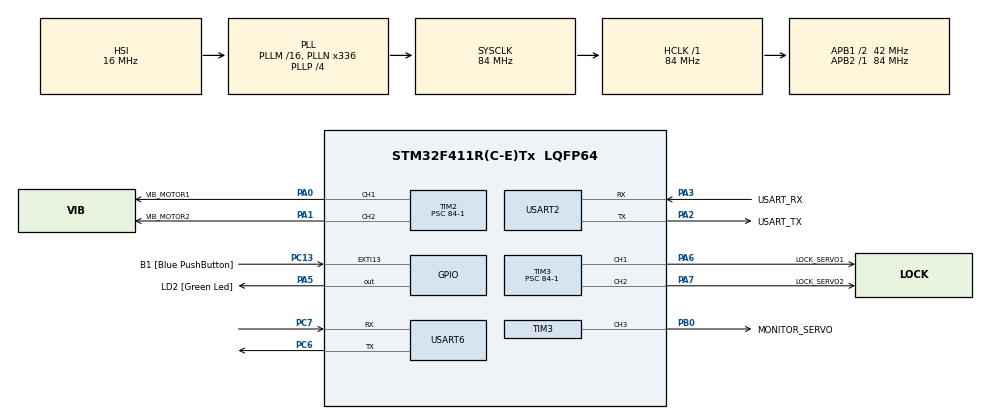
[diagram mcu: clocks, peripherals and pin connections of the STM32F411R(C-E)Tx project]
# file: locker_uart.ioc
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Dma.Request0=USART6_RX
Dma.Request1=USART6_TX
Dma.USART6_RX.0.Direction=DMA_PERIPH_TO_MEMORY
Dma.USART6_RX.0.FIFOMode=DMA_FIFOMODE_DISABLE
Dma.USART6_RX.0.Instance=DMA2_Stream1
Dma.USART6_RX.0.MemDataAlignment=DMA_MDATAALIGN_BYTE
Dma.USART6_RX.0.MemInc=DMA_MINC_ENABLE
Dma.USART6_RX.0.Mode=DMA_CIRCULAR
Dma.USART6_RX.0.PeriphDataAlignment=DMA_PDATAALIGN_BYTE
Dma.USART6_RX.0.PeriphInc=DMA_PINC_DISABLE
Dma.USART6_RX.0.Priority=DMA_PRIORITY_LOW
Dma.USART6_TX.1.Direction=DMA_MEMORY_TO_PERIPH
Dma.USART6_TX.1.FIFOMode=DMA_FIFOMODE_DISABLE
Dma.USART6_TX.1.Instance=DMA2_Stream6
Dma.USART6_TX.1.MemDataAlignment=DMA_MDATAALIGN_BYTE
Dma.USART6_TX.1.MemInc=DMA_MINC_ENABLE
Dma.USART6_TX.1.Mode=DMA_NORMAL
Dma.USART6_TX.1.PeriphDataAlignment=DMA_PDATAALIGN_BYTE
Dma.USART6_TX.1.PeriphInc=DMA_PINC_DISABLE
Dma.USART6_TX.1.Priority=DMA_PRIORITY_LOW
Mcu.Family=STM32F4
Mcu.Name=STM32F411R(C-E)Tx
Mcu.Package=LQFP64
NVIC.DMA2_Stream1_IRQn=true\:0\:0\:false\:false\:true\:false\:true\:true
NVIC.DMA2_Stream6_IRQn=true\:0\:0\:false\:false\:true\:false\:true\:true
NVIC.PriorityGroup=NVIC_PRIORITYGROUP_0
NVIC.USART6_IRQn=true\:0\:0\:false\:false\:true\:true\:true\:true
PA0-WKUP.GPIO_Label=VIB_MOTOR1
PA0-WKUP.Signal=S_TIM2_CH1_ETR
PA1.GPIO_Label=VIB_MOTOR2
PA1.Signal=S_TIM2_CH2
PA13.GPIO_Label=TMS
PA13.Mode=Serial_Wire
PA13.Signal=SYS_JTMS-SWDIO
PA14.GPIO_Label=TCK
PA14.Mode=Serial_Wire
PA14.Signal=SYS_JTCK-SWCLK
PA2.GPIO_Label=USART_TX
PA2.Mode=Asynchronous
PA2.Signal=USART2_TX
PA3.GPIO_Label=USART_RX
PA3.Mode=Asynchronous
PA3.Signal=USART2_RX
PA5.GPIO_Label=LD2 [Green Led]
PA5.Signal=GPIO_Output
PA6.GPIO_Label=LOCK_SERVO1
PA6.Signal=S_TIM3_CH1
PA7.GPIO_Label=LOCK_SERVO2
PA7.Signal=S_TIM3_CH2
PB0.GPIO_Label=MONITOR_SERVO
PB0.Signal=S_TIM3_CH3
PB3.GPIO_Label=SWO
PB3.Signal=SYS_JTDO-SWO
PC13-ANTI_TAMP.GPIO_Label=B1 [Blue PushButton]
PC13-ANTI_TAMP.GPIO_ModeDefaultEXTI=GPIO_MODE_IT_FALLING
PC13-ANTI_TAMP.Signal=GPXTI13
PC14-OSC32_IN.Signal=RCC_OSC32_IN
PC15-OSC32_OUT.Signal=RCC_OSC32_OUT
PC6.Mode=Asynchronous
PC6.Signal=USART6_TX
PC7.Mode=Asynchronous
PC7.Signal=USART6_RX
PH0\ -\ OSC_IN.Signal=RCC_OSC_IN
PH1\ -\ OSC_OUT.Signal=RCC_OSC_OUT
ProjectManager.HeapSize=0x200
ProjectManager.StackSize=0x400
ProjectManager.TargetToolchain=STM32CubeIDE
RCC.48MHZClocksFreq_Value=84000000
RCC.AHBFreq_Value=84000000
RCC.APB1CLKDivider=RCC_HCLK_DIV2
RCC.APB1Freq_Value=42000000
RCC.APB1TimFreq_Value=84000000
RCC.APB2Freq_Value=84000000
RCC.APB2TimFreq_Value=84000000
RCC.CortexFreq_Value=84000000
RCC.FLatency-AdvancedSettings=FLASH_LATENCY_2
RCC.HCLKFreq_Value=84000000
RCC.HSE_VALUE=8000000
RCC.HSI_VALUE=16000000
RCC.LSE_VALUE=32768
RCC.PLLN=336
RCC.PLLP=RCC_PLLP_DIV4
RCC.SYSCLKFreq_VALUE=84000000
RCC.SYSCLKSource=RCC_SYSCLKSOURCE_PLLCLK
RCC.VCOOutputFreq_Value=336000000
SH.S_TIM2_CH1_ETR.0=TIM2_CH1,PWM Generation1 CH1
SH.S_TIM2_CH2.0=TIM2_CH2,PWM Generation2 CH2
SH.S_TIM3_CH1.0=TIM3_CH1,PWM Generation1 CH1
SH.S_TIM3_CH2.0=TIM3_CH2,PWM Generation2 CH2
SH.S_TIM3_CH3.0=TIM3_CH3,PWM Generation3 CH3
TIM2.Channel-PWM\ Generation1\ CH1=TIM_CHANNEL_1
TIM2.Channel-PWM\ Generation2\ CH2=TIM_CHANNEL_2
TIM2.Period=1000-1
TIM2.Prescaler=84-1
TIM3.Channel-PWM\ Generation1\ CH1=TIM_CHANNEL_1
TIM3.Channel-PWM\ Generation2\ CH2=TIM_CHANNEL_2
TIM3.Channel-PWM\ Generation3\ CH3=TIM_CHANNEL_3
TIM3.Period=20000-1
TIM3.Prescaler=84-1
USART2.VirtualMode=VM_ASYNC
USART6.VirtualMode=VM_ASYNC
board=NUCLEO-F411RE

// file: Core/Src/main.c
/* USER CODE BEGIN Header */
/**
  ******************************************************************************
  * @file           : main.c
  * @brief          : Main program body
  ******************************************************************************
  * @attention
  *
  * Copyright (c) 2025 STMicroelectronics.
  * All rights reserved.
  *
  * This software is licensed under terms that can be found in the LICENSE file
  * in the root directory of this software component.
  * If no LICENSE file comes with this software, it is provided AS-IS.
  *
  ******************************************************************************
  */
/* USER CODE END Header */
#include "main.h"

/* USER CODE BEGIN Includes */
#include <stdio.h>
#include <string.h>

/* USER CODE END Includes */

/* USER CODE BEGIN PD */
#ifdef __GNUC__
/* With GCC, small printf (option LD Linker->Libraries->Small printf
   set to 'Yes') calls __io_putchar() */
#define PUTCHAR_PROTOTYPE int __io_putchar(int ch)
#else
#define PUTCHAR_PROTOTYPE int fputc(int ch, FILE *f)
#endif /* __GNUC__ */

/* USER CODE END PD */

TIM_HandleTypeDef htim2;
TIM_HandleTypeDef htim3;

UART_HandleTypeDef huart2;
UART_HandleTypeDef huart6;
DMA_HandleTypeDef hdma_usart6_rx;
DMA_HandleTypeDef hdma_usart6_tx;

/* USER CODE BEGIN PV */
#define RX_BUF_SIZE 256
#define ARR_CNT 4
char rxBuf[RX_BUF_SIZE];
volatile uint8_t rx_ch;
volatile uint8_t rx_index;
uint8_t uart6_flag = 0;
uint8_t uart6_rx_len = 0;
volatile uint8_t vib_flag = 0;	// 진동 기능 flag
volatile uint8_t vib_repeat = 0;	// 패턴 반복 횟수
static volatile uint8_t old = 0;
char msg_temp[RX_BUF_SIZE];
char* msg = msg_temp;

/* USER CODE END PV */

void SystemClock_Config(void);
static void MX_GPIO_Init(void);
static void MX_DMA_Init(void);
static void MX_USART2_UART_Init(void);
static void MX_USART6_UART_Init(void);
static void MX_TIM3_Init(void);
static void MX_TIM2_Init(void);
/* USER CODE BEGIN PFP */
void processMessage(char *msg);
void servo_unlock(void);
void servo_lock(void);
void send_status(const char *status);
void Motor_SetDutyPercent(uint8_t percent);
int Vib_PulsePattern(void);
void servo_setAngle(uint8_t angle);

/* USER CODE END PFP */

/* USER CODE BEGIN 0 */
void processMessage(char* msg)	/* 들어오는 메시지 처리 */
{
/*=========문자열 파싱=========*/
	int i = 0;
	char * pToken;
	char * pArray[ARR_CNT]={0};

	printf("Original Received : %s\r\n", msg);

	pToken = strtok(msg,":");
	while(pToken != NULL)
	{
	    pArray[i] = pToken;
	    if(++i >= ARR_CNT)
	      break;
	    pToken = strtok(NULL,":");
	}
	if(!strcmp(pArray[2],"DRAWER"))
	{
	 	if(!strcmp(pArray[3],"UNLOCK"))
	  	{
	  		printf(">>>>>debug : unlock\r\n");
//			servo_unlock();		// 서랍 잠금해제
//			send_status("unlocked success\n");	// 상태 회신 : 잠금해제 성공
	  	}
		else if(!strcmp(pArray[3],"LOCK"))
		{
			printf(">>>>>debug : lock\r\n");
//			servo_lock();		// 서랍 잠금
//			send_status("locked success\n");	// 상태 회신 : 잠금 성공

		}
	}
	if(!strcmp(pArray[2],"SLP"))
	{
	 	if(!strcmp(pArray[3],"ON"))
	  	{
	  		printf(">>>>>debug : sleeping \r\n");
//		    for(int i = 0; i < 5; i ++)
//		    {
//			    Vib_PulsePattern(); // "두두둑" 패턴 실행
//			    HAL_Delay(800);
//		    }
//		    send_status("vibration success\n");	// 상태 회신 : 진동 성공

	  	}
		else if(!strcmp(pArray[3],"OFF"))
		{
			printf(">>>>>debug : No sleeping \r\n");
		}
	}
	if(!strcmp(pArray[2],"POSTURE"))
	{
	 	if(!strcmp(pArray[3],"BAD"))
	  	{
	  		printf(">>>>>debug : bad posture \r\n");
//			__HAL_TIM_SET_COMPARE(&htim3, TIM_CHANNEL_3, 2200);
//			send_status("monitor tilted up\n");	// 상태 회신 : 모니터 강제 조절 성공

	  	}
		else if(!strcmp(pArray[3],"OK"))
		{
			printf(">>>>>debug : good posture \r\n");
//			__HAL_TIM_SET_COMPARE(&htim3, TIM_CHANNEL_3, 2500);
//			send_status("monitor reset\n");	// 상태 회신 : 모니터 원상복구
		}
	}

#if 1
	if(strcmp(msg, "unlock") == 0)
	{
		servo_unlock();		// 서랍 잠금해제
		send_status("unlocked success\n");	// 상태 회신 : 잠금해제 성공
	}
	else if(strcmp(msg, "lock") == 0)
	{
		servo_lock();		// 서랍 잠금
		send_status("locked success\n");	// 상태 회신 : 잠금 성공
	}
	else if(strcmp(msg, "sleeping") == 0)
	{
	    printf("Running Vibration...\r\n");
//	    for(int i = 0; i < 5; i ++)
//	    {
//		    Vib_PulsePattern(); // "두두둑" 패턴 실행
//		    HAL_Delay(800);
//	    }
	    vib_repeat = 5;		// 5번 반복
	    vib_flag = 1;		// 진동 시작
	    send_status("vibration started\n");	// 상태 회신 : 진동 성공
	}

	else if(strcmp(msg, "2") == 0)		// 좋은 자세일 때
	{
		printf("Running monitor reset...\r\n");
		__HAL_TIM_SET_COMPARE(&htim3, TIM_CHANNEL_3, 2500);
		send_status("monitor reset\n");	// 상태 회신 : 모니터 원상복구
	}

	else if(strcmp(msg, "1") == 0)		// 나쁜 자세일 때
	{
		printf("Running monitor tilt...\r\n");
		__HAL_TIM_SET_COMPARE(&htim3, TIM_CHANNEL_3, 2200);
		send_status("monitor tilted up\n");	// 상태 회신 : 모니터 강제 조절 성공
	}
#endif

}

void send_status(const char *status)	/* 메시지 전송 */
{
	HAL_UART_Transmit(&huart6, (uint8_t*)status, strlen(status), HAL_MAX_DELAY);
}

/*================== 잠금서랍 기능 ==================*/
void servo_unlock(void)
{
	// PWM 제어 코드 (0 도)
	__HAL_TIM_SET_COMPARE(&htim3, TIM_CHANNEL_1, 500);	// 0도
	__HAL_TIM_SET_COMPARE(&htim3, TIM_CHANNEL_2, 1500);	// 90도
	printf("0도\r\n");

}

void servo_lock(void)
{
	// PWM 제어 코드 ( 90 도)
	__HAL_TIM_SET_COMPARE(&htim3, TIM_CHANNEL_1, 1500);	// 90도
	__HAL_TIM_SET_COMPARE(&htim3, TIM_CHANNEL_2, 500);	// 0도
	printf("90도\r\n");
}

/*================== 졸음 진동 기능 ==================*/
// 모터 듀티 설정 (percent 0~100)
void Motor_SetDutyPercent(uint8_t percent) {
    if (percent > 100) percent = 100;
    uint32_t arr = __HAL_TIM_GET_AUTORELOAD(&htim2); // 499
    uint32_t ccr = (arr + 1) * percent / 100;
    __HAL_TIM_SET_COMPARE(&htim2, TIM_CHANNEL_1, ccr);
    __HAL_TIM_SET_COMPARE(&htim2, TIM_CHANNEL_2, ccr);
}

// 예: 진동 패턴
int Vib_PulsePattern(void) {
	static uint32_t last_tick = 0;
	static int state = 0;
	static int pulse_count = 0;

	uint32_t now = HAL_GetTick();

	switch(state)
	{
		case 0:		// 모터 on
			Motor_SetDutyPercent(70);
			last_tick = now;	// 현재 시간을 저장
			pulse_count = 0;
			state = 1;
			break;
		case 1:		// on 500ms -> off
			if(now - last_tick >= 500)
			{
				Motor_SetDutyPercent(0);
				last_tick = now;
				state = 2;
			}
			break;
		case 2:		// off 300 ms -> on
		{
			if(now - last_tick >= 300)	// 100ms 동안 쉬기
			{
				pulse_count++;
				if(pulse_count < 3)
				{
					Motor_SetDutyPercent(50);
					last_tick = now;
					state = 1;
				}
				else
				{
					state = 0;	// 다시 모터 on
					return 1;
				}
			}
			break;
		}
	}
	return 0;

//    for (int i=0;i<3;i++) {
//        Motor_SetDutyPercent(50); HAL_Delay(500);
//        Motor_SetDutyPercent(0);  HAL_Delay(100);
//    }
}

/*================== 모니터 조절 기능 ==================*/
void servo_setAngle(uint8_t angle)
{
    /* angle: 0~180 범위 */
    if (angle > 180) angle = 180;

    /*
     * PWM 주기 설정값
     * PSC = 84-1, ARR = 20000-1 → 1 tick = 1 us, 주기 = 20 ms (50Hz)
     * Servo: 0도 ≈ 1ms 펄스, 180도 ≈ 2ms 펄스
     * 즉, CCR = 1000 ~ 2000 (us 단위)
     */
    uint16_t pulse = 1000 + ((angle * 1000) / 180);

    __HAL_TIM_SET_COMPARE(&htim3, TIM_CHANNEL_3, pulse);
}

/* USER CODE END 0 */

int main(void)
{

  /* MCU Configuration--------------------------------------------------------*/

  /* Reset of all peripherals, Initializes the Flash interface and the Systick. */
  HAL_Init();

  /* Configure the system clock */
  SystemClock_Config();

  /* Initialize all configured peripherals */
  MX_GPIO_Init();
  MX_DMA_Init();
  MX_USART2_UART_Init();
  MX_USART6_UART_Init();
  MX_TIM3_Init();
  MX_TIM2_Init();
  /* USER CODE BEGIN 2 */
  printf("main start()!!\r\n");
  if(HAL_TIM_PWM_Start(&htim3, TIM_CHANNEL_1) != HAL_OK)
	  Error_Handler();
  if(HAL_TIM_PWM_Start(&htim3, TIM_CHANNEL_2) != HAL_OK)
	  Error_Handler();
  if(HAL_TIM_PWM_Start(&htim3, TIM_CHANNEL_3) != HAL_OK)
	  Error_Handler();
  if(HAL_TIM_PWM_Start(&htim2, TIM_CHANNEL_1) != HAL_OK)
	  Error_Handler();
  if(HAL_TIM_PWM_Start(&htim2, TIM_CHANNEL_2) != HAL_OK)
	  Error_Handler();

//  HAL_UART_Receive_IT(&huart6, (uint8_t*)&rx_ch, 1);
  __HAL_UART_ENABLE_IT(&huart6, UART_IT_IDLE);	// IDLE 인터럽트 활성화
  HAL_UART_Receive_DMA(&huart6, (uint8_t*)rxBuf, RX_BUF_SIZE);

  /* USER CODE END 2 */

  /* Infinite loop */
  /* USER CODE BEGIN WHILE */
  while (1)
  {
	  //memset(msg_temp, 0, sizeof(msg_temp));
	  if(uart6_flag)
	  {
		  uart6_flag = 0;

	      // 수신된 길이 계산
		  uart6_rx_len = RX_BUF_SIZE - __HAL_DMA_GET_COUNTER(huart6.hdmarx);
	      if(uart6_rx_len == 0)	return;		// 메시지 없으면 무시

	      // 메시지 끝 개행(\n) 제거
	      if(rxBuf[uart6_rx_len - 1] == '\n') uart6_rx_len--;

	      // 화면 출력
	      if(uart6_rx_len > old)
	      {
	    	  printf(">>Received: %.*s\r\n", uart6_rx_len-old, &rxBuf[old]);
	    	  memcpy(msg_temp, &rxBuf[old], uart6_rx_len-old);
	      }
	      else
	      {
		      printf("Received: %.*s", RX_BUF_SIZE-old, &rxBuf[old]);
		      memcpy(msg_temp, &rxBuf[old], RX_BUF_SIZE-old);
		      if(uart6_rx_len) {
		    	  printf("%.*s", uart6_rx_len, &rxBuf[0]);
		    	  memcpy(msg_temp, &rxBuf[old], uart6_rx_len);
		      }
		      printf("\r\n");
	      }
	      processMessage(msg_temp);
	      old = uart6_rx_len+1;

	      memset(msg_temp, 0, sizeof(msg_temp));
	  }

	 if(vib_flag)
	 {
		 if(Vib_PulsePattern())
		 {
			 vib_repeat--;
			 if(vib_repeat <= 0) { vib_flag = 0; }
		 }
	 }

    /* USER CODE END WHILE */

  }
}

void SystemClock_Config(void)
{
  RCC_OscInitTypeDef RCC_OscInitStruct = {0};
  RCC_ClkInitTypeDef RCC_ClkInitStruct = {0};

  /** Configure the main internal regulator output voltage
  */
  __HAL_RCC_PWR_CLK_ENABLE();
  __HAL_PWR_VOLTAGESCALING_CONFIG(PWR_REGULATOR_VOLTAGE_SCALE1);

  /** Initializes the RCC Oscillators according to the specified parameters
  * in the RCC_OscInitTypeDef structure.
  */
  RCC_OscInitStruct.OscillatorType = RCC_OSCILLATORTYPE_HSI;
  RCC_OscInitStruct.HSIState = RCC_HSI_ON;
  RCC_OscInitStruct.HSICalibrationValue = RCC_HSICALIBRATION_DEFAULT;
  RCC_OscInitStruct.PLL.PLLState = RCC_PLL_ON;
  RCC_OscInitStruct.PLL.PLLSource = RCC_PLLSOURCE_HSI;
  RCC_OscInitStruct.PLL.PLLM = 16;
  RCC_OscInitStruct.PLL.PLLN = 336;
  RCC_OscInitStruct.PLL.PLLP = RCC_PLLP_DIV4;
  RCC_OscInitStruct.PLL.PLLQ = 4;
  if (HAL_RCC_OscConfig(&RCC_OscInitStruct) != HAL_OK)
  {
    Error_Handler();
  }

  /** Initializes the CPU, AHB and APB buses clocks
  */
  RCC_ClkInitStruct.ClockType = RCC_CLOCKTYPE_HCLK|RCC_CLOCKTYPE_SYSCLK
                              |RCC_CLOCKTYPE_PCLK1|RCC_CLOCKTYPE_PCLK2;
  RCC_ClkInitStruct.SYSCLKSource = RCC_SYSCLKSOURCE_PLLCLK;
  RCC_ClkInitStruct.AHBCLKDivider = RCC_SYSCLK_DIV1;
  RCC_ClkInitStruct.APB1CLKDivider = RCC_HCLK_DIV2;
  RCC_ClkInitStruct.APB2CLKDivider = RCC_HCLK_DIV1;

  if (HAL_RCC_ClockConfig(&RCC_ClkInitStruct, FLASH_LATENCY_2) != HAL_OK)
  {
    Error_Handler();
  }
}

static void MX_TIM2_Init(void)
{

  TIM_MasterConfigTypeDef sMasterConfig = {0};
  TIM_OC_InitTypeDef sConfigOC = {0};

  htim2.Instance = TIM2;
  htim2.Init.Prescaler = 84-1;
  htim2.Init.CounterMode = TIM_COUNTERMODE_UP;
  htim2.Init.Period = 1000-1;
  htim2.Init.ClockDivision = TIM_CLOCKDIVISION_DIV1;
  htim2.Init.AutoReloadPreload = TIM_AUTORELOAD_PRELOAD_DISABLE;
  if (HAL_TIM_PWM_Init(&htim2) != HAL_OK)
  {
    Error_Handler();
  }
  sMasterConfig.MasterOutputTrigger = TIM_TRGO_RESET;
  sMasterConfig.MasterSlaveMode = TIM_MASTERSLAVEMODE_DISABLE;
  if (HAL_TIMEx_MasterConfigSynchronization(&htim2, &sMasterConfig) != HAL_OK)
  {
    Error_Handler();
  }
  sConfigOC.OCMode = TIM_OCMODE_PWM1;
  sConfigOC.Pulse = 0;
  sConfigOC.OCPolarity = TIM_OCPOLARITY_HIGH;
  sConfigOC.OCFastMode = TIM_OCFAST_DISABLE;
  if (HAL_TIM_PWM_ConfigChannel(&htim2, &sConfigOC, TIM_CHANNEL_1) != HAL_OK)
  {
    Error_Handler();
  }
  if (HAL_TIM_PWM_ConfigChannel(&htim2, &sConfigOC, TIM_CHANNEL_2) != HAL_OK)
  {
    Error_Handler();
  }
  HAL_TIM_MspPostInit(&htim2);

}

static void MX_TIM3_Init(void)
{

  TIM_MasterConfigTypeDef sMasterConfig = {0};
  TIM_OC_InitTypeDef sConfigOC = {0};

  htim3.Instance = TIM3;
  htim3.Init.Prescaler = 84-1;
  htim3.Init.CounterMode = TIM_COUNTERMODE_UP;
  htim3.Init.Period = 20000-1;
  htim3.Init.ClockDivision = TIM_CLOCKDIVISION_DIV1;
  htim3.Init.AutoReloadPreload = TIM_AUTORELOAD_PRELOAD_DISABLE;
  if (HAL_TIM_PWM_Init(&htim3) != HAL_OK)
  {
    Error_Handler();
  }
  sMasterConfig.MasterOutputTrigger = TIM_TRGO_RESET;
  sMasterConfig.MasterSlaveMode = TIM_MASTERSLAVEMODE_DISABLE;
  if (HAL_TIMEx_MasterConfigSynchronization(&htim3, &sMasterConfig) != HAL_OK)
  {
    Error_Handler();
  }
  sConfigOC.OCMode = TIM_OCMODE_PWM1;
  sConfigOC.Pulse = 0;
  sConfigOC.OCPolarity = TIM_OCPOLARITY_HIGH;
  sConfigOC.OCFastMode = TIM_OCFAST_DISABLE;
  if (HAL_TIM_PWM_ConfigChannel(&htim3, &sConfigOC, TIM_CHANNEL_1) != HAL_OK)
  {
    Error_Handler();
  }
  if (HAL_TIM_PWM_ConfigChannel(&htim3, &sConfigOC, TIM_CHANNEL_2) != HAL_OK)
  {
    Error_Handler();
  }
  if (HAL_TIM_PWM_ConfigChannel(&htim3, &sConfigOC, TIM_CHANNEL_3) != HAL_OK)
  {
    Error_Handler();
  }
  HAL_TIM_MspPostInit(&htim3);

}

static void MX_USART2_UART_Init(void)
{

  huart2.Instance = USART2;
  huart2.Init.BaudRate = 115200;
  huart2.Init.WordLength = UART_WORDLENGTH_8B;
  huart2.Init.StopBits = UART_STOPBITS_1;
  huart2.Init.Parity = UART_PARITY_NONE;
  huart2.Init.Mode = UART_MODE_TX_RX;
  huart2.Init.HwFlowCtl = UART_HWCONTROL_NONE;
  huart2.Init.OverSampling = UART_OVERSAMPLING_16;
  if (HAL_UART_Init(&huart2) != HAL_OK)
  {
    Error_Handler();
  }

}

static void MX_USART6_UART_Init(void)
{

  huart6.Instance = USART6;
  huart6.Init.BaudRate = 115200;
  huart6.Init.WordLength = UART_WORDLENGTH_8B;
  huart6.Init.StopBits = UART_STOPBITS_1;
  huart6.Init.Parity = UART_PARITY_NONE;
  huart6.Init.Mode = UART_MODE_TX_RX;
  huart6.Init.HwFlowCtl = UART_HWCONTROL_NONE;
  huart6.Init.OverSampling = UART_OVERSAMPLING_16;
  if (HAL_UART_Init(&huart6) != HAL_OK)
  {
    Error_Handler();
  }

}

static void MX_DMA_Init(void)
{

  /* DMA controller clock enable */
  __HAL_RCC_DMA2_CLK_ENABLE();

  /* DMA interrupt init */
  /* DMA2_Stream1_IRQn interrupt configuration */
  HAL_NVIC_SetPriority(DMA2_Stream1_IRQn, 0, 0);
  HAL_NVIC_EnableIRQ(DMA2_Stream1_IRQn);
  /* DMA2_Stream6_IRQn interrupt configuration */
  HAL_NVIC_SetPriority(DMA2_Stream6_IRQn, 0, 0);
  HAL_NVIC_EnableIRQ(DMA2_Stream6_IRQn);

}

static void MX_GPIO_Init(void)
{
  GPIO_InitTypeDef GPIO_InitStruct = {0};

  /* GPIO Ports Clock Enable */
  __HAL_RCC_GPIOC_CLK_ENABLE();
  __HAL_RCC_GPIOH_CLK_ENABLE();
  __HAL_RCC_GPIOA_CLK_ENABLE();
  __HAL_RCC_GPIOB_CLK_ENABLE();

  /*Configure GPIO pin Output Level */
  HAL_GPIO_WritePin(LD2_GPIO_Port, LD2_Pin, GPIO_PIN_RESET);

  /*Configure GPIO pin : B1_Pin */
  GPIO_InitStruct.Pin = B1_Pin;
  GPIO_InitStruct.Mode = GPIO_MODE_IT_FALLING;
  GPIO_InitStruct.Pull = GPIO_NOPULL;
  HAL_GPIO_Init(B1_GPIO_Port, &GPIO_InitStruct);

  /*Configure GPIO pin : LD2_Pin */
  GPIO_InitStruct.Pin = LD2_Pin;
  GPIO_InitStruct.Mode = GPIO_MODE_OUTPUT_PP;
  GPIO_InitStruct.Pull = GPIO_NOPULL;
  GPIO_InitStruct.Speed = GPIO_SPEED_FREQ_LOW;
  HAL_GPIO_Init(LD2_GPIO_Port, &GPIO_InitStruct);

}

/* USER CODE BEGIN 4 */
/**
  * @brief  Retargets the C library printf function to the USART.
  * @param  None
  * @retval None
  */
PUTCHAR_PROTOTYPE
{
  /* Place your implementation of fputc here */
  /* e.g. write a character to the USART6 and Loop until the end of transmission */
  HAL_UART_Transmit(&huart2, (uint8_t *)&ch, 1, 0xFFFF);

  return ch;
}

//void HAL_UART_RxCpltCallback(UART_HandleTypeDef *huart)
//{
//	if(huart->Instance == USART6)	// USART6에서 인터럽트 발생했을 때 처리
//	{
//		if(rx_ch == '\n')
//		{
//			uart6_flag = 1;
//		}
//		else
//		{
//			if(rx_index < RX_BUF_SIZE -1)
//			{
//				rxBuf[rx_index++] = rx_ch;
//			}
//		}
//
//		HAL_UART_Receive_IT(&huart6, (uint8_t*)&rx_ch, 1);	// 다시 수신 요청
//	}
//}

//void USART6_IRQHandler(void)
//{
//    HAL_UART_IRQHandler(&huart6);  // DMA RX 처리
//
//    if(__HAL_UART_GET_FLAG(&huart6, UART_FLAG_IDLE))
//    {
//        __HAL_UART_CLEAR_IDLEFLAG(&huart6);
//        uart6_flag = 1;
//
////        // 메시지 길이 계산
////        uint16_t len = RX_BUF_SIZE - __HAL_DMA_GET_COUNTER(huart6.hdmarx);
////
////        // UART2 DMA 전송
////        HAL_UART_Transmit_DMA(&huart2, (uint8_t*)rxBuf, len);
////
////        // 필요 시 버퍼 초기화
////        memset(rxBuf, 0, RX_BUF_SIZE);
//    }
//}

/* USER CODE END 4 */

void Error_Handler(void)
{
  __disable_irq();
  while (1)
  {
  }
}
